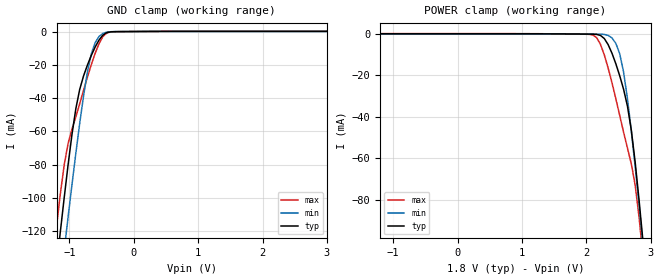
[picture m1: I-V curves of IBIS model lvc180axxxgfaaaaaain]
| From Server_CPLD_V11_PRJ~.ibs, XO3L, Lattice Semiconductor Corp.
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[Model]   lvc180axxxgfaaaaaain
Model_type   Input
Polarity   Non-Inverting
Enable   Active-Low
Vinl =   0.6300V
Vinh =   1.1700V
C_comp   4.2000pF   3.8000pF   7.5000pF
[Temperature Range]   25.0000   0.1050k   -40.0000
[Voltage Range]   1.8000V   1.7100V   1.8900V
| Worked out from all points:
|   GND clamp passes 1 mA (typ) near -0.43 V on its own axis
[GND_clamp]
|Voltage   I(typ)   I(min)   I(max)
-1.8V     -365.5mA   -387.4mA   -346.6mA
-1.2V     -141.4mA   -172.5mA   -117.3mA
-1.14V    -120.2mA   -151.8mA   -97.42mA
-1.08V    -99.69mA   -131.5mA   -80.08mA
-1.02V    -80.06mA   -111.5mA   -67.26mA
-900mV    -46.42mA   -73.22mA   -51.33mA
-840mV    -34.83mA   -55.28mA   -43.43mA
-720mV    -20.19mA   -24.35mA   -27.41mA
-660mV    -14.41mA   -13.44mA   -19.94mA
-480mV    -2.179mA   -1.153mA   -3.06mA
-300mV    -89.25uA   -56.23uA   -136.3uA
3.6V      115.4uA    588.8uA    201.7uA
[POWER_clamp]
|Voltage   I(typ)   I(min)   I(max)
-1.8V     115.4uA    1.712mA    200.5uA
2.04V     -59.59uA   -19.59uA   -171.9uA
2.22V     -674.9uA   -79.63uA   -4.953mA
2.34V     -5.125mA   -663.2uA   -16.43mA
2.46V     -14.41mA   -4.545mA   -31.33mA
2.52V     -20.19mA   -9.558mA   -39.37mA
2.58V     -26.7mA    -18.39mA   -47.44mA
2.7V      -46.42mA   -46.78mA   -62.65mA
2.76V     -61.93mA   -64.11mA   -73.01mA
2.82V     -80.06mA   -82.55mA   -88.31mA
2.88V     -99.69mA   -101.7mA   -107.1mA
3.6V      -365.5mA   -354.5mA   -382.3mA
